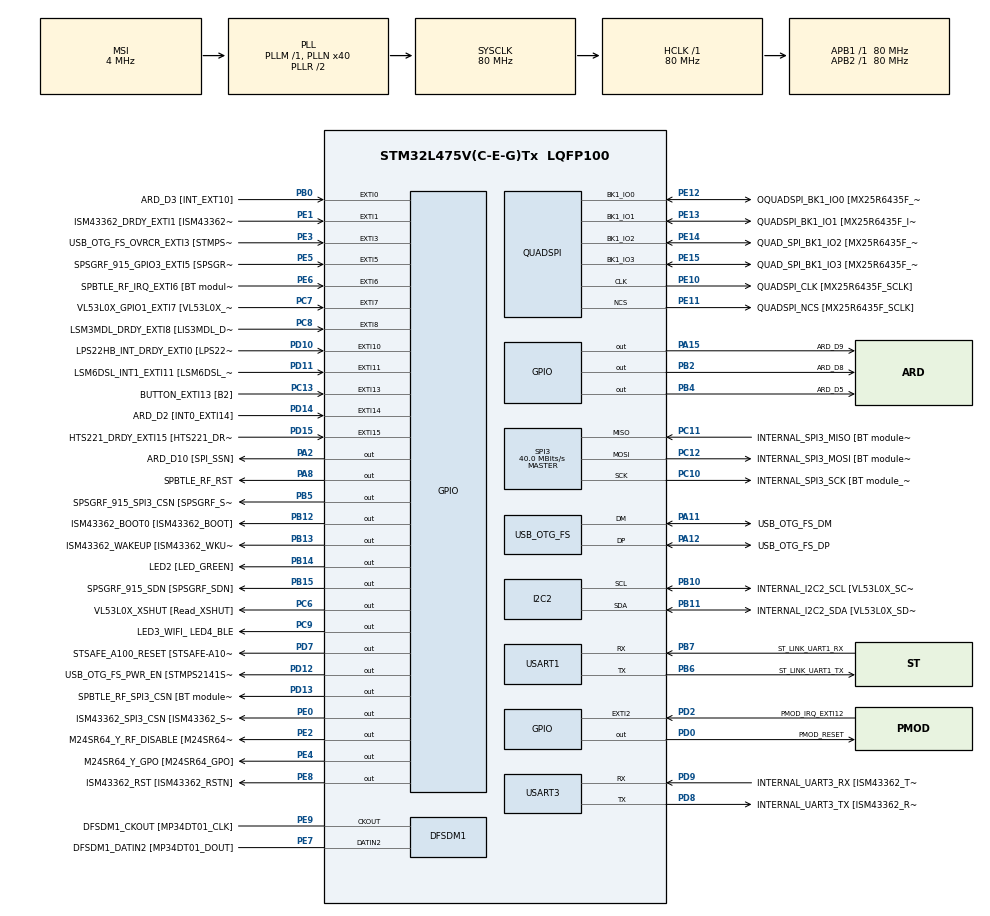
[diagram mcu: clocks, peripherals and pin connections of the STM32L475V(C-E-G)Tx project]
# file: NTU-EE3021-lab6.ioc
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ADC1.Channel-0\#ChannelRegularConversion=ADC_CHANNEL_TEMPSENSOR
ADC1.ClockPrescaler=ADC_CLOCK_ASYNC_DIV1
ADC1.ExternalTrigConv=ADC_EXTERNALTRIG_T2_TRGO
ADC1.NbrOfConversionFlag=1
ADC1.OffsetNumber-0\#ChannelRegularConversion=ADC_OFFSET_NONE
ADC1.Rank-0\#ChannelRegularConversion=1
ADC1.SamplingTime-0\#ChannelRegularConversion=ADC_SAMPLETIME_640CYCLES_5
ADC1.master=1
FREERTOS.BinarySemaphores01=myBinarySem01,Dynamic,NULL,Depleted
FREERTOS.Tasks01=defaultTask,24,128,StartDefaultTask,Default,NULL,Dynamic,NULL,NULL
Mcu.Family=STM32L4
Mcu.Name=STM32L475V(C-E-G)Tx
Mcu.Package=LQFP100
NVIC.ADC1_2_IRQn=true\:5\:0\:false\:false\:true\:true\:true\:true\:true
NVIC.EXTI15_10_IRQn=true\:5\:0\:false\:false\:true\:true\:true\:true\:true
NVIC.EXTI9_5_IRQn=true\:5\:0\:false\:false\:true\:true\:true\:true\:true
NVIC.PriorityGroup=NVIC_PRIORITYGROUP_4
PA0.GPIO_Label=ARD_D1 [UART4_TX]
PA0.Signal=UART4_TX
PA1.GPIO_Label=ARD_D0 [UART4_RX]
PA1.Signal=UART4_RX
PA10.GPIO_Label=USB_OTG_FS_ID
PA10.Signal=USB_OTG_FS_ID
PA11.GPIO_Label=USB_OTG_FS_DM
PA11.Mode=Device_Only
PA11.Signal=USB_OTG_FS_DM
PA12.GPIO_Label=USB_OTG_FS_DP
PA12.Mode=Device_Only
PA12.Signal=USB_OTG_FS_DP
PA13\ (JTMS-SWDIO).GPIO_Label=SYS_JTMS_SWDIO
PA13\ (JTMS-SWDIO).Mode=Serial_Wire
PA13\ (JTMS-SWDIO).Signal=SYS_JTMS-SWDIO
PA14\ (JTCK-SWCLK).GPIO_Label=SYS_JTCK_SWCLK
PA14\ (JTCK-SWCLK).Mode=Serial_Wire
PA14\ (JTCK-SWCLK).Signal=SYS_JTCK-SWCLK
PA15\ (JTDI).GPIO_Label=ARD_D9
PA15\ (JTDI).Signal=GPIO_Output
PA2.GPIO_Label=ARD_D10 [SPI_SSN]
PA2.Signal=GPIO_Output
PA3.GPIO_Label=ARD_D4
PA3.Signal=S_TIM2_CH4
PA4.GPIO_Label=ARD_D7
PA4.Signal=ADCx_IN9
PA5.GPIO_Label=ARD_D13 [SPI1_SCK]
PA5.Signal=SPI1_SCK
PA6.GPIO_Label=ARD_D12 [SPI1_MISO]
PA6.Signal=SPI1_MISO
PA7.GPIO_Label=ARD_D11 [SPI1_MOSI]
PA7.Signal=SPI1_MOSI
PA8.GPIO_Label=SPBTLE_RF_RST
PA8.Signal=GPIO_Output
PA9.GPIO_Label=USB_OTG_FS_VBUS [STMPS2141STR_OUT]
PA9.Signal=USB_OTG_FS_VBUS
PB0.GPIO_Label=ARD_D3 [INT_EXT10]
PB0.Signal=GPXTI0
PB1.GPIO_Label=ARD_D6 [ADC1_IN6]
PB1.Signal=ADCx_IN16
PB10.GPIO_Label=INTERNAL_I2C2_SCL [VL53L0X_SCL]
PB10.GPIO_Pu=GPIO_PULLUP
PB10.Mode=I2C
PB10.Signal=I2C2_SCL
PB11.GPIO_Label=INTERNAL_I2C2_SDA [VL53L0X_SDA]
PB11.GPIO_Pu=GPIO_PULLUP
PB11.Mode=I2C
PB11.Signal=I2C2_SDA
PB12.GPIO_Label=ISM43362_BOOT0 [ISM43362_BOOT]
PB12.Signal=GPIO_Output
PB13.GPIO_Label=ISM43362_WAKEUP [ISM43362_WKUP]
PB13.Signal=GPIO_Output
PB14.GPIO_Label=LED2 [LED_GREEN]
PB14.Signal=GPIO_Output
PB15.GPIO_Label=SPSGRF_915_SDN [SPSGRF_SDN]
PB15.Signal=GPIO_Output
PB2.GPIO_Label=ARD_D8
PB2.Signal=GPIO_Output
PB3\ (JTDO-TRACESWO).GPIO_Label=SYS_JTD0_SWO
PB3\ (JTDO-TRACESWO).Signal=SYS_JTDO-SWO
PB4\ (NJTRST).GPIO_Label=ARD_D5
PB4\ (NJTRST).Signal=GPIO_Output
PB5.GPIO_Label=SPSGRF_915_SPI3_CSN [SPSGRF_SPI_CS]
PB5.PinState=GPIO_PIN_SET
PB5.Signal=GPIO_Output
PB6.GPIO_Label=ST_LINK_UART1_TX
PB6.Mode=Asynchronous
PB6.Signal=USART1_TX
PB7.GPIO_Label=ST_LINK_UART1_RX
PB7.Mode=Asynchronous
PB7.Signal=USART1_RX
PB8.GPIO_Label=ARD_D15 [I2C1_SCL]
PB8.Signal=I2C1_SCL
PB9.GPIO_Label=ARD_D14 [I2C1_SDA]
PB9.Signal=I2C1_SDA
PC0.GPIO_Label=ARD_A5 [ADC]
PC0.Signal=ADCx_IN1
PC1.GPIO_Label=ARD_A4 [ADC]
PC1.Signal=ADCx_IN2
PC10.GPIO_Label=INTERNAL_SPI3_SCK [BT module_SPI_SCLK] [ISM43362_SCK]
PC10.Mode=Full_Duplex_Master
PC10.Signal=SPI3_SCK
PC11.GPIO_Label=INTERNAL_SPI3_MISO [BT module_SPI_MISO] [ISM43362_MISO]
PC11.Mode=Full_Duplex_Master
PC11.Signal=SPI3_MISO
PC12.GPIO_Label=INTERNAL_SPI3_MOSI [BT module_SPI_MOSI] [ISM43362_MOSI]
PC12.Mode=Full_Duplex_Master
PC12.Signal=SPI3_MOSI
PC13.GPIO_Label=BUTTON_EXTI13 [B2]
PC13.GPIO_ModeDefaultEXTI=GPIO_MODE_IT_FALLING
PC13.Signal=GPXTI13
PC14-OSC32_IN\ (PC14).Mode=LSE-External-Oscillator
PC14-OSC32_IN\ (PC14).Signal=RCC_OSC32_IN
PC15-OSC32_OUT\ (PC15).Mode=LSE-External-Oscillator
PC15-OSC32_OUT\ (PC15).Signal=RCC_OSC32_OUT
PC2.GPIO_Label=ARD_A3 [ADC]
PC2.Signal=ADCx_IN3
PC3.GPIO_Label=ARD_A2 [ADC]
PC3.Signal=ADCx_IN4
PC4.GPIO_Label=ARD_A1 [ADC]
PC4.Signal=ADCx_IN13
PC5.GPIO_Label=ARD_A0 [ADC]
PC5.Signal=ADCx_IN14
PC6.GPIO_Label=VL53L0X_XSHUT [Read_XSHUT]
PC6.Signal=GPIO_Output
PC7.GPIO_Label=VL53L0X_GPIO1_EXTI7 [VL53L0X_GPIO1]
PC7.Signal=GPXTI7
PC8.GPIO_Label=LSM3MDL_DRDY_EXTI8 [LIS3MDL_DRDY]
PC8.Signal=GPXTI8
PC9.GPIO_Label=LED3_WIFI_ LED4_BLE
PC9.Signal=GPIO_Output
PD0.GPIO_Label=PMOD_RESET
PD0.Signal=GPIO_Output
PD1.GPIO_Label=PMOD_SPI2_SCK
PD1.Signal=SPI2_SCK
PD10.GPIO_Label=LPS22HB_INT_DRDY_EXTI0 [LPS22HB_INT_DRDY] 
PD10.Signal=GPXTI10
PD11.GPIO_Label=LSM6DSL_INT1_EXTI11 [LSM6DSL_INT1]
PD11.Signal=GPXTI11
PD12.GPIO_Label=USB_OTG_FS_PWR_EN [STMPS2141STR_EN]
PD12.Signal=GPIO_Output
PD13.GPIO_Label=SPBTLE_RF_SPI3_CSN [BT module_SPI_CS]
PD13.PinState=GPIO_PIN_SET
PD13.Signal=GPIO_Output
PD14.GPIO_Label=ARD_D2 [INT0_EXTI14]
PD14.Signal=GPXTI14
PD15.GPIO_Label=HTS221_DRDY_EXTI15 [HTS221_DRDY]
PD15.Signal=GPXTI15
PD2.GPIO_Label=PMOD_IRQ_EXTI12
PD2.Signal=GPXTI2
PD3.GPIO_Label=PMOD_UART2_CTS
PD3.Signal=USART2_CTS
PD4.GPIO_Label=PMOD_UART2_RTS
PD4.Signal=USART2_RTS
PD5.GPIO_Label=PMOD_UART2_TX
PD5.Signal=USART2_TX
PD6.GPIO_Label=PMOD_UART2_RX
PD6.Signal=USART2_RX
PD7.GPIO_Label=STSAFE_A100_RESET [STSAFE-A100_RESET]
PD7.Signal=GPIO_Output
PD8.GPIO_Label=INTERNAL_UART3_TX [ISM43362_RX]
PD8.Mode=Asynchronous
PD8.Signal=USART3_TX
PD9.GPIO_Label=INTERNAL_UART3_RX [ISM43362_TX]
PD9.Mode=Asynchronous
PD9.Signal=USART3_RX
PE0.GPIO_Label=ISM43362_SPI3_CSN [ISM43362_SSN]
PE0.PinState=GPIO_PIN_SET
PE0.Signal=GPIO_Output
PE1.GPIO_Label=ISM43362_DRDY_EXTI1 [ISM43362_DATARDY]
PE1.Signal=GPXTI1
PE10.GPIO_Label=QUADSPI_CLK [MX25R6435F_SCLK]
PE10.Mode=Single Bank
PE10.Signal=QUADSPI_CLK
PE11.GPIO_Label=QUADSPI_NCS [MX25R6435F_SCLK]
PE11.Mode=Single Bank
PE11.Signal=QUADSPI_NCS
PE12.GPIO_Label=OQUADSPI_BK1_IO0 [MX25R6435F_IO0]
PE12.Mode=Single Bank
PE12.Signal=QUADSPI_BK1_IO0
PE13.GPIO_Label=QUADSPI_BK1_IO1 [MX25R6435F_IO1]
PE13.Mode=Single Bank
PE13.Signal=QUADSPI_BK1_IO1
PE14.GPIO_Label=QUAD_SPI_BK1_IO2 [MX25R6435F_IO2]
PE14.Mode=Single Bank
PE14.Signal=QUADSPI_BK1_IO2
PE15.GPIO_Label=QUAD_SPI_BK1_IO3 [MX25R6435F_IO3]
PE15.Mode=Single Bank
PE15.Signal=QUADSPI_BK1_IO3
PE2.GPIO_Label=M24SR64_Y_RF_DISABLE [M24SR64_RFDIS]
PE2.Signal=GPIO_Output
PE3.GPIO_Label=USB_OTG_FS_OVRCR_EXTI3 [STMPS2141STR_FAULT]
PE3.Signal=GPXTI3
PE4.GPIO_Label=M24SR64_Y_GPO [M24SR64_GPO]
PE4.Signal=GPIO_Output
PE5.GPIO_Label=SPSGRF_915_GPIO3_EXTI5 [SPSGRF_GPIO_3]
PE5.Signal=GPXTI5
PE6.GPIO_Label=SPBTLE_RF_IRQ_EXTI6 [BT module_SPI_IRQ]
PE6.Signal=GPXTI6
PE7.GPIO_Label=DFSDM1_DATIN2 [MP34DT01_DOUT]
PE7.Signal=S_DATAIN2DFSDM1
PE8.GPIO_Label=ISM43362_RST [ISM43362_RSTN]
PE8.Signal=GPIO_Output
PE9.GPIO_Label=DFSDM1_CKOUT [MP34DT01_CLK]
PE9.Signal=S_CKOUTDFSDM1
ProjectManager.HeapSize=0x200
ProjectManager.StackSize=0x400
ProjectManager.TargetToolchain=STM32CubeIDE
QUADSPI.ClockPrescaler=2
QUADSPI.FifoThreshold=4
QUADSPI.FlashSize=23
QUADSPI.SampleShifting=QSPI_SAMPLE_SHIFTING_HALFCYCLE
RCC.ADCFreq_Value=48000000
RCC.AHBFreq_Value=80000000
RCC.APB1Freq_Value=80000000
RCC.APB1TimFreq_Value=80000000
RCC.APB2Freq_Value=80000000
RCC.APB2TimFreq_Value=80000000
RCC.CortexFreq_Value=80000000
RCC.HCLKFreq_Value=80000000
RCC.HSE_VALUE=8000000
RCC.HSI_VALUE=16000000
RCC.MSI_VALUE=4000000
RCC.PLLN=40
RCC.PLLSAI1N=24
RCC.SYSCLKFreq_VALUE=80000000
RCC.SYSCLKSource=RCC_SYSCLKSOURCE_PLLCLK
RCC.USBFreq_Value=48000000
RCC.VCOOutputFreq_Value=160000000
SH.ADCx_IN1.0=ADC1_IN1
SH.ADCx_IN13.0=ADC1_IN13
SH.ADCx_IN14.0=ADC1_IN14
SH.ADCx_IN16.0=ADC1_IN16
SH.ADCx_IN2.0=ADC1_IN2
SH.ADCx_IN3.0=ADC1_IN3
SH.ADCx_IN4.0=ADC1_IN4
SH.ADCx_IN9.0=ADC1_IN9
SH.S_CKOUTDFSDM1.0=DFSDM1_CKOUT,CKOUT
SH.S_CKOUTDFSDM1.1=DFSDM1_CKOUT,PDM_SPI_Input_from_ch12_and_Internal_Clock
SH.S_DATAIN2DFSDM1.0=DFSDM1_DATIN2,PDM_SPI_Input_from_ch12_and_Internal_Clock
SH.S_TIM2_CH4.0=TIM2_CH4
SPI3.CalculateBaudRate=40.0 MBits/s
SPI3.Direction=SPI_DIRECTION_2LINES
SPI3.Mode=SPI_MODE_MASTER
SPI3.VirtualType=VM_MASTER
TIM2.Period=1000000-1
TIM2.Prescaler=80-1
TIM2.TIM_MasterOutputTrigger=TIM_TRGO_UPDATE
USART1.VirtualMode-Asynchronous=VM_ASYNC
USART3.VirtualMode-Asynchronous=VM_ASYNC
USB_OTG_FS.VirtualMode=Device_Only
VP_ADC1_TempSens_Input.Mode=IN-TempSens
VP_FREERTOS_VS_CMSIS_V2.Mode=CMSIS_V2
VP_TIM2_VS_ClockSourceINT.Mode=Internal
board=B-L475E-IOT01A1

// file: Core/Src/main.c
/* USER CODE BEGIN Header */
/**
 ******************************************************************************
 * @file           : main.c
 * @brief          : Main program body
 ******************************************************************************
 * @attention
 *
 * Copyright (c) 2025 STMicroelectronics.
 * All rights reserved.
 *
 * This software is licensed under terms that can be found in the LICENSE file
 * in the root directory of this software component.
 * If no LICENSE file comes with this software, it is provided AS-IS.
 *
 ******************************************************************************
 */
/* USER CODE END Header */
#include "main.h"
#include "cmsis_os.h"

/* USER CODE BEGIN PTD */

#define TS_CAL1_ADDR ((uint16_t *)((uint32_t)0x1FFF75A8)) // 30°C
#define TS_CAL2_ADDR ((uint16_t *)((uint32_t)0x1FFF75CA)) // 130°C
uint16_t ts_cal1, ts_cal2;

/* USER CODE END PTD */

ADC_HandleTypeDef hadc1;

DFSDM_Channel_HandleTypeDef hdfsdm1_channel1;

I2C_HandleTypeDef hi2c2;

QSPI_HandleTypeDef hqspi;

SPI_HandleTypeDef hspi3;

TIM_HandleTypeDef htim2;

UART_HandleTypeDef huart1;
UART_HandleTypeDef huart3;

PCD_HandleTypeDef hpcd_USB_OTG_FS;

float temperature;

/* Definitions for defaultTask */
osThreadId_t defaultTaskHandle;
const osThreadAttr_t defaultTask_attributes = {
    .name = "defaultTask",
    .stack_size = 512 * 4,
    .priority = (osPriority_t)osPriorityNormal,
};
/* Definitions for myBinarySem01 */
osSemaphoreId_t myBinarySem01Handle;
const osSemaphoreAttr_t myBinarySem01_attributes = {
    .name = "myBinarySem01"};

void SystemClock_Config(void);
void PeriphCommonClock_Config(void);
static void MX_GPIO_Init(void);
static void MX_DFSDM1_Init(void);
static void MX_I2C2_Init(void);
static void MX_QUADSPI_Init(void);
static void MX_SPI3_Init(void);
static void MX_USART1_UART_Init(void);
static void MX_USART3_UART_Init(void);
static void MX_USB_OTG_FS_PCD_Init(void);
static void MX_ADC1_Init(void);
static void MX_TIM2_Init(void);
void StartDefaultTask(void *argument);

/* USER CODE BEGIN 0 */

int __io_putchar(int ch) {
    HAL_UART_Transmit(&huart1, (uint8_t *)&ch, 1, HAL_MAX_DELAY);
    return ch;
}

void HAL_ADC_ConvCpltCallback(ADC_HandleTypeDef *hadc) {
    uint32_t value = HAL_ADC_GetValue(hadc);
    float adjusted_adc = ((float)value) * (3.3f / 3.0f); // 校準回 3.0V 基準
    temperature = (adjusted_adc - ts_cal1) * (130.0f - 30.0f) / (ts_cal2 - ts_cal1) + 30.0f;

    osSemaphoreRelease(myBinarySem01Handle);
}
/* USER CODE END 0 */

int main(void) {

    /* USER CODE BEGIN 1 */

    ts_cal1 = *TS_CAL1_ADDR;
    ts_cal2 = *TS_CAL2_ADDR;

    /* USER CODE END 1 */

    /* MCU Configuration--------------------------------------------------------*/

    /* Reset of all peripherals, Initializes the Flash interface and the Systick. */
    HAL_Init();

    /* Configure the system clock */
    SystemClock_Config();

    /* Configure the peripherals common clocks */
    PeriphCommonClock_Config();

    /* Initialize all configured peripherals */
    MX_GPIO_Init();
    MX_DFSDM1_Init();
    MX_I2C2_Init();
    MX_QUADSPI_Init();
    MX_SPI3_Init();
    MX_USART1_UART_Init();
    MX_USART3_UART_Init();
    MX_USB_OTG_FS_PCD_Init();
    MX_ADC1_Init();
    MX_TIM2_Init();
    /* USER CODE BEGIN 2 */

    HAL_ADC_Start_IT(&hadc1);
    HAL_TIM_Base_Start(&htim2);

    /* USER CODE END 2 */

    /* Init scheduler */
    osKernelInitialize();

    /* Create the semaphores(s) */
    /* creation of myBinarySem01 */
    myBinarySem01Handle = osSemaphoreNew(1, 0, &myBinarySem01_attributes);

    /* Create the thread(s) */
    /* creation of defaultTask */
    defaultTaskHandle = osThreadNew(StartDefaultTask, NULL, &defaultTask_attributes);

    /* Start scheduler */
    osKernelStart();

    /* We should never get here as control is now taken by the scheduler */

    /* Infinite loop */
    while (1) {

    }
}

void SystemClock_Config(void) {
    RCC_OscInitTypeDef RCC_OscInitStruct = {0};
    RCC_ClkInitTypeDef RCC_ClkInitStruct = {0};

    /** Configure the main internal regulator output voltage
     */
    if (HAL_PWREx_ControlVoltageScaling(PWR_REGULATOR_VOLTAGE_SCALE1) != HAL_OK) {
	Error_Handler();
    }

    /** Configure LSE Drive Capability
     */
    HAL_PWR_EnableBkUpAccess();
    __HAL_RCC_LSEDRIVE_CONFIG(RCC_LSEDRIVE_LOW);

    /** Initializes the RCC Oscillators according to the specified parameters
     * in the RCC_OscInitTypeDef structure.
     */
    RCC_OscInitStruct.OscillatorType = RCC_OSCILLATORTYPE_LSE | RCC_OSCILLATORTYPE_MSI;
    RCC_OscInitStruct.LSEState = RCC_LSE_ON;
    RCC_OscInitStruct.MSIState = RCC_MSI_ON;
    RCC_OscInitStruct.MSICalibrationValue = 0;
    RCC_OscInitStruct.MSIClockRange = RCC_MSIRANGE_6;
    RCC_OscInitStruct.PLL.PLLState = RCC_PLL_ON;
    RCC_OscInitStruct.PLL.PLLSource = RCC_PLLSOURCE_MSI;
    RCC_OscInitStruct.PLL.PLLM = 1;
    RCC_OscInitStruct.PLL.PLLN = 40;
    RCC_OscInitStruct.PLL.PLLP = RCC_PLLP_DIV7;
    RCC_OscInitStruct.PLL.PLLQ = RCC_PLLQ_DIV2;
    RCC_OscInitStruct.PLL.PLLR = RCC_PLLR_DIV2;
    if (HAL_RCC_OscConfig(&RCC_OscInitStruct) != HAL_OK) {
	Error_Handler();
    }

    /** Initializes the CPU, AHB and APB buses clocks
     */
    RCC_ClkInitStruct.ClockType = RCC_CLOCKTYPE_HCLK | RCC_CLOCKTYPE_SYSCLK | RCC_CLOCKTYPE_PCLK1 | RCC_CLOCKTYPE_PCLK2;
    RCC_ClkInitStruct.SYSCLKSource = RCC_SYSCLKSOURCE_PLLCLK;
    RCC_ClkInitStruct.AHBCLKDivider = RCC_SYSCLK_DIV1;
    RCC_ClkInitStruct.APB1CLKDivider = RCC_HCLK_DIV1;
    RCC_ClkInitStruct.APB2CLKDivider = RCC_HCLK_DIV1;

    if (HAL_RCC_ClockConfig(&RCC_ClkInitStruct, FLASH_LATENCY_4) != HAL_OK) {
	Error_Handler();
    }

    /** Enable MSI Auto calibration
     */
    HAL_RCCEx_EnableMSIPLLMode();
}

void PeriphCommonClock_Config(void) {
    RCC_PeriphCLKInitTypeDef PeriphClkInit = {0};

    /** Initializes the peripherals clock
     */
    PeriphClkInit.PeriphClockSelection = RCC_PERIPHCLK_USB | RCC_PERIPHCLK_ADC;
    PeriphClkInit.AdcClockSelection = RCC_ADCCLKSOURCE_PLLSAI1;
    PeriphClkInit.UsbClockSelection = RCC_USBCLKSOURCE_PLLSAI1;
    PeriphClkInit.PLLSAI1.PLLSAI1Source = RCC_PLLSOURCE_MSI;
    PeriphClkInit.PLLSAI1.PLLSAI1M = 1;
    PeriphClkInit.PLLSAI1.PLLSAI1N = 24;
    PeriphClkInit.PLLSAI1.PLLSAI1P = RCC_PLLP_DIV7;
    PeriphClkInit.PLLSAI1.PLLSAI1Q = RCC_PLLQ_DIV2;
    PeriphClkInit.PLLSAI1.PLLSAI1R = RCC_PLLR_DIV2;
    PeriphClkInit.PLLSAI1.PLLSAI1ClockOut = RCC_PLLSAI1_48M2CLK | RCC_PLLSAI1_ADC1CLK;
    if (HAL_RCCEx_PeriphCLKConfig(&PeriphClkInit) != HAL_OK) {
	Error_Handler();
    }
}

static void MX_ADC1_Init(void) {

    ADC_MultiModeTypeDef multimode = {0};
    ADC_ChannelConfTypeDef sConfig = {0};

    /** Common config
     */
    hadc1.Instance = ADC1;
    hadc1.Init.ClockPrescaler = ADC_CLOCK_ASYNC_DIV1;
    hadc1.Init.Resolution = ADC_RESOLUTION_12B;
    hadc1.Init.DataAlign = ADC_DATAALIGN_RIGHT;
    hadc1.Init.ScanConvMode = ADC_SCAN_DISABLE;
    hadc1.Init.EOCSelection = ADC_EOC_SINGLE_CONV;
    hadc1.Init.LowPowerAutoWait = DISABLE;
    hadc1.Init.ContinuousConvMode = DISABLE;
    hadc1.Init.NbrOfConversion = 1;
    hadc1.Init.DiscontinuousConvMode = DISABLE;
    hadc1.Init.ExternalTrigConv = ADC_EXTERNALTRIG_T2_TRGO;
    hadc1.Init.ExternalTrigConvEdge = ADC_EXTERNALTRIGCONVEDGE_RISING;
    hadc1.Init.DMAContinuousRequests = DISABLE;
    hadc1.Init.Overrun = ADC_OVR_DATA_PRESERVED;
    hadc1.Init.OversamplingMode = DISABLE;
    if (HAL_ADC_Init(&hadc1) != HAL_OK) {
	Error_Handler();
    }

    /** Configure the ADC multi-mode
     */
    multimode.Mode = ADC_MODE_INDEPENDENT;
    if (HAL_ADCEx_MultiModeConfigChannel(&hadc1, &multimode) != HAL_OK) {
	Error_Handler();
    }

    /** Configure Regular Channel
     */
    sConfig.Channel = ADC_CHANNEL_TEMPSENSOR;
    sConfig.Rank = ADC_REGULAR_RANK_1;
    sConfig.SamplingTime = ADC_SAMPLETIME_640CYCLES_5;
    sConfig.SingleDiff = ADC_SINGLE_ENDED;
    sConfig.OffsetNumber = ADC_OFFSET_NONE;
    sConfig.Offset = 0;
    if (HAL_ADC_ConfigChannel(&hadc1, &sConfig) != HAL_OK) {
	Error_Handler();
    }
}

static void MX_DFSDM1_Init(void) {

    hdfsdm1_channel1.Instance = DFSDM1_Channel1;
    hdfsdm1_channel1.Init.OutputClock.Activation = ENABLE;
    hdfsdm1_channel1.Init.OutputClock.Selection = DFSDM_CHANNEL_OUTPUT_CLOCK_SYSTEM;
    hdfsdm1_channel1.Init.OutputClock.Divider = 2;
    hdfsdm1_channel1.Init.Input.Multiplexer = DFSDM_CHANNEL_EXTERNAL_INPUTS;
    hdfsdm1_channel1.Init.Input.DataPacking = DFSDM_CHANNEL_STANDARD_MODE;
    hdfsdm1_channel1.Init.Input.Pins = DFSDM_CHANNEL_FOLLOWING_CHANNEL_PINS;
    hdfsdm1_channel1.Init.SerialInterface.Type = DFSDM_CHANNEL_SPI_RISING;
    hdfsdm1_channel1.Init.SerialInterface.SpiClock = DFSDM_CHANNEL_SPI_CLOCK_INTERNAL;
    hdfsdm1_channel1.Init.Awd.FilterOrder = DFSDM_CHANNEL_FASTSINC_ORDER;
    hdfsdm1_channel1.Init.Awd.Oversampling = 1;
    hdfsdm1_channel1.Init.Offset = 0;
    hdfsdm1_channel1.Init.RightBitShift = 0x00;
    if (HAL_DFSDM_ChannelInit(&hdfsdm1_channel1) != HAL_OK) {
	Error_Handler();
    }
}

static void MX_I2C2_Init(void) {

    hi2c2.Instance = I2C2;
    hi2c2.Init.Timing = 0x00000E14;
    hi2c2.Init.OwnAddress1 = 0;
    hi2c2.Init.AddressingMode = I2C_ADDRESSINGMODE_7BIT;
    hi2c2.Init.DualAddressMode = I2C_DUALADDRESS_DISABLE;
    hi2c2.Init.OwnAddress2 = 0;
    hi2c2.Init.OwnAddress2Masks = I2C_OA2_NOMASK;
    hi2c2.Init.GeneralCallMode = I2C_GENERALCALL_DISABLE;
    hi2c2.Init.NoStretchMode = I2C_NOSTRETCH_DISABLE;
    if (HAL_I2C_Init(&hi2c2) != HAL_OK) {
	Error_Handler();
    }

    /** Configure Analogue filter
     */
    if (HAL_I2CEx_ConfigAnalogFilter(&hi2c2, I2C_ANALOGFILTER_ENABLE) != HAL_OK) {
	Error_Handler();
    }

    /** Configure Digital filter
     */
    if (HAL_I2CEx_ConfigDigitalFilter(&hi2c2, 0) != HAL_OK) {
	Error_Handler();
    }
}

static void MX_QUADSPI_Init(void) {

    /* QUADSPI parameter configuration*/
    hqspi.Instance = QUADSPI;
    hqspi.Init.ClockPrescaler = 2;
    hqspi.Init.FifoThreshold = 4;
    hqspi.Init.SampleShifting = QSPI_SAMPLE_SHIFTING_HALFCYCLE;
    hqspi.Init.FlashSize = 23;
    hqspi.Init.ChipSelectHighTime = QSPI_CS_HIGH_TIME_1_CYCLE;
    hqspi.Init.ClockMode = QSPI_CLOCK_MODE_0;
    if (HAL_QSPI_Init(&hqspi) != HAL_OK) {
	Error_Handler();
    }
}

static void MX_SPI3_Init(void) {

    /* SPI3 parameter configuration*/
    hspi3.Instance = SPI3;
    hspi3.Init.Mode = SPI_MODE_MASTER;
    hspi3.Init.Direction = SPI_DIRECTION_2LINES;
    hspi3.Init.DataSize = SPI_DATASIZE_4BIT;
    hspi3.Init.CLKPolarity = SPI_POLARITY_LOW;
    hspi3.Init.CLKPhase = SPI_PHASE_1EDGE;
    hspi3.Init.NSS = SPI_NSS_SOFT;
    hspi3.Init.BaudRatePrescaler = SPI_BAUDRATEPRESCALER_2;
    hspi3.Init.FirstBit = SPI_FIRSTBIT_MSB;
    hspi3.Init.TIMode = SPI_TIMODE_DISABLE;
    hspi3.Init.CRCCalculation = SPI_CRCCALCULATION_DISABLE;
    hspi3.Init.CRCPolynomial = 7;
    hspi3.Init.CRCLength = SPI_CRC_LENGTH_DATASIZE;
    hspi3.Init.NSSPMode = SPI_NSS_PULSE_ENABLE;
    if (HAL_SPI_Init(&hspi3) != HAL_OK) {
	Error_Handler();
    }
}

static void MX_TIM2_Init(void) {

    TIM_ClockConfigTypeDef sClockSourceConfig = {0};
    TIM_MasterConfigTypeDef sMasterConfig = {0};

    htim2.Instance = TIM2;
    htim2.Init.Prescaler = 80 - 1;
    htim2.Init.CounterMode = TIM_COUNTERMODE_UP;
    htim2.Init.Period = 1000000 - 1;
    htim2.Init.ClockDivision = TIM_CLOCKDIVISION_DIV1;
    htim2.Init.AutoReloadPreload = TIM_AUTORELOAD_PRELOAD_DISABLE;
    if (HAL_TIM_Base_Init(&htim2) != HAL_OK) {
	Error_Handler();
    }
    sClockSourceConfig.ClockSource = TIM_CLOCKSOURCE_INTERNAL;
    if (HAL_TIM_ConfigClockSource(&htim2, &sClockSourceConfig) != HAL_OK) {
	Error_Handler();
    }
    sMasterConfig.MasterOutputTrigger = TIM_TRGO_UPDATE;
    sMasterConfig.MasterSlaveMode = TIM_MASTERSLAVEMODE_DISABLE;
    if (HAL_TIMEx_MasterConfigSynchronization(&htim2, &sMasterConfig) != HAL_OK) {
	Error_Handler();
    }
}

static void MX_USART1_UART_Init(void) {

    huart1.Instance = USART1;
    huart1.Init.BaudRate = 115200;
    huart1.Init.WordLength = UART_WORDLENGTH_8B;
    huart1.Init.StopBits = UART_STOPBITS_1;
    huart1.Init.Parity = UART_PARITY_NONE;
    huart1.Init.Mode = UART_MODE_TX_RX;
    huart1.Init.HwFlowCtl = UART_HWCONTROL_NONE;
    huart1.Init.OverSampling = UART_OVERSAMPLING_16;
    huart1.Init.OneBitSampling = UART_ONE_BIT_SAMPLE_DISABLE;
    huart1.AdvancedInit.AdvFeatureInit = UART_ADVFEATURE_NO_INIT;
    if (HAL_UART_Init(&huart1) != HAL_OK) {
	Error_Handler();
    }
}

static void MX_USART3_UART_Init(void) {

    huart3.Instance = USART3;
    huart3.Init.BaudRate = 115200;
    huart3.Init.WordLength = UART_WORDLENGTH_8B;
    huart3.Init.StopBits = UART_STOPBITS_1;
    huart3.Init.Parity = UART_PARITY_NONE;
    huart3.Init.Mode = UART_MODE_TX_RX;
    huart3.Init.HwFlowCtl = UART_HWCONTROL_NONE;
    huart3.Init.OverSampling = UART_OVERSAMPLING_16;
    huart3.Init.OneBitSampling = UART_ONE_BIT_SAMPLE_DISABLE;
    huart3.AdvancedInit.AdvFeatureInit = UART_ADVFEATURE_NO_INIT;
    if (HAL_UART_Init(&huart3) != HAL_OK) {
	Error_Handler();
    }
}

static void MX_USB_OTG_FS_PCD_Init(void) {

    hpcd_USB_OTG_FS.Instance = USB_OTG_FS;
    hpcd_USB_OTG_FS.Init.dev_endpoints = 6;
    hpcd_USB_OTG_FS.Init.speed = PCD_SPEED_FULL;
    hpcd_USB_OTG_FS.Init.phy_itface = PCD_PHY_EMBEDDED;
    hpcd_USB_OTG_FS.Init.Sof_enable = DISABLE;
    hpcd_USB_OTG_FS.Init.low_power_enable = DISABLE;
    hpcd_USB_OTG_FS.Init.lpm_enable = DISABLE;
    hpcd_USB_OTG_FS.Init.battery_charging_enable = DISABLE;
    hpcd_USB_OTG_FS.Init.use_dedicated_ep1 = DISABLE;
    hpcd_USB_OTG_FS.Init.vbus_sensing_enable = DISABLE;
    if (HAL_PCD_Init(&hpcd_USB_OTG_FS) != HAL_OK) {
	Error_Handler();
    }
}

static void MX_GPIO_Init(void) {
    GPIO_InitTypeDef GPIO_InitStruct = {0};

    /* GPIO Ports Clock Enable */
    __HAL_RCC_GPIOE_CLK_ENABLE();
    __HAL_RCC_GPIOC_CLK_ENABLE();
    __HAL_RCC_GPIOA_CLK_ENABLE();
    __HAL_RCC_GPIOB_CLK_ENABLE();
    __HAL_RCC_GPIOD_CLK_ENABLE();

    /*Configure GPIO pin Output Level */
    HAL_GPIO_WritePin(GPIOE, M24SR64_Y_RF_DISABLE_Pin | M24SR64_Y_GPO_Pin | ISM43362_RST_Pin, GPIO_PIN_RESET);

    /*Configure GPIO pin Output Level */
    HAL_GPIO_WritePin(GPIOA, ARD_D10_Pin | SPBTLE_RF_RST_Pin | ARD_D9_Pin, GPIO_PIN_RESET);

    /*Configure GPIO pin Output Level */
    HAL_GPIO_WritePin(GPIOB, ARD_D8_Pin | ISM43362_BOOT0_Pin | ISM43362_WAKEUP_Pin | LED2_Pin | SPSGRF_915_SDN_Pin | ARD_D5_Pin, GPIO_PIN_RESET);

    /*Configure GPIO pin Output Level */
    HAL_GPIO_WritePin(GPIOD, USB_OTG_FS_PWR_EN_Pin | PMOD_RESET_Pin | STSAFE_A100_RESET_Pin, GPIO_PIN_RESET);

    /*Configure GPIO pin Output Level */
    HAL_GPIO_WritePin(SPBTLE_RF_SPI3_CSN_GPIO_Port, SPBTLE_RF_SPI3_CSN_Pin, GPIO_PIN_SET);

    /*Configure GPIO pin Output Level */
    HAL_GPIO_WritePin(GPIOC, VL53L0X_XSHUT_Pin | LED3_WIFI__LED4_BLE_Pin, GPIO_PIN_RESET);

    /*Configure GPIO pin Output Level */
    HAL_GPIO_WritePin(SPSGRF_915_SPI3_CSN_GPIO_Port, SPSGRF_915_SPI3_CSN_Pin, GPIO_PIN_SET);

    /*Configure GPIO pin Output Level */
    HAL_GPIO_WritePin(ISM43362_SPI3_CSN_GPIO_Port, ISM43362_SPI3_CSN_Pin, GPIO_PIN_SET);

    /*Configure GPIO pins : M24SR64_Y_RF_DISABLE_Pin M24SR64_Y_GPO_Pin ISM43362_RST_Pin ISM43362_SPI3_CSN_Pin */
    GPIO_InitStruct.Pin = M24SR64_Y_RF_DISABLE_Pin | M24SR64_Y_GPO_Pin | ISM43362_RST_Pin | ISM43362_SPI3_CSN_Pin;
    GPIO_InitStruct.Mode = GPIO_MODE_OUTPUT_PP;
    GPIO_InitStruct.Pull = GPIO_NOPULL;
    GPIO_InitStruct.Speed = GPIO_SPEED_FREQ_LOW;
    HAL_GPIO_Init(GPIOE, &GPIO_InitStruct);

    /*Configure GPIO pins : USB_OTG_FS_OVRCR_EXTI3_Pin SPSGRF_915_GPIO3_EXTI5_Pin SPBTLE_RF_IRQ_EXTI6_Pin ISM43362_DRDY_EXTI1_Pin */
    GPIO_InitStruct.Pin = USB_OTG_FS_OVRCR_EXTI3_Pin | SPSGRF_915_GPIO3_EXTI5_Pin | SPBTLE_RF_IRQ_EXTI6_Pin | ISM43362_DRDY_EXTI1_Pin;
    GPIO_InitStruct.Mode = GPIO_MODE_IT_RISING;
    GPIO_InitStruct.Pull = GPIO_NOPULL;
    HAL_GPIO_Init(GPIOE, &GPIO_InitStruct);

    /*Configure GPIO pin : BUTTON_EXTI13_Pin */
    GPIO_InitStruct.Pin = BUTTON_EXTI13_Pin;
    GPIO_InitStruct.Mode = GPIO_MODE_IT_FALLING;
    GPIO_InitStruct.Pull = GPIO_NOPULL;
    HAL_GPIO_Init(BUTTON_EXTI13_GPIO_Port, &GPIO_InitStruct);

    /*Configure GPIO pins : ARD_D1_Pin ARD_D0_Pin */
    GPIO_InitStruct.Pin = ARD_D1_Pin | ARD_D0_Pin;
    GPIO_InitStruct.Mode = GPIO_MODE_AF_PP;
    GPIO_InitStruct.Pull = GPIO_NOPULL;
    GPIO_InitStruct.Speed = GPIO_SPEED_FREQ_VERY_HIGH;
    GPIO_InitStruct.Alternate = GPIO_AF8_UART4;
    HAL_GPIO_Init(GPIOA, &GPIO_InitStruct);

    /*Configure GPIO pins : ARD_D10_Pin SPBTLE_RF_RST_Pin ARD_D9_Pin */
    GPIO_InitStruct.Pin = ARD_D10_Pin | SPBTLE_RF_RST_Pin | ARD_D9_Pin;
    GPIO_InitStruct.Mode = GPIO_MODE_OUTPUT_PP;
    GPIO_InitStruct.Pull = GPIO_NOPULL;
    GPIO_InitStruct.Speed = GPIO_SPEED_FREQ_LOW;
    HAL_GPIO_Init(GPIOA, &GPIO_InitStruct);

    /*Configure GPIO pins : ARD_D13_Pin ARD_D12_Pin ARD_D11_Pin */
    GPIO_InitStruct.Pin = ARD_D13_Pin | ARD_D12_Pin | ARD_D11_Pin;
    GPIO_InitStruct.Mode = GPIO_MODE_AF_PP;
    GPIO_InitStruct.Pull = GPIO_NOPULL;
    GPIO_InitStruct.Speed = GPIO_SPEED_FREQ_VERY_HIGH;
    GPIO_InitStruct.Alternate = GPIO_AF5_SPI1;
    HAL_GPIO_Init(GPIOA, &GPIO_InitStruct);

    /*Configure GPIO pin : ARD_D3_Pin */
    GPIO_InitStruct.Pin = ARD_D3_Pin;
    GPIO_InitStruct.Mode = GPIO_MODE_IT_RISING;
    GPIO_InitStruct.Pull = GPIO_NOPULL;
    HAL_GPIO_Init(ARD_D3_GPIO_Port, &GPIO_InitStruct);

    /*Configure GPIO pins : ARD_D8_Pin ISM43362_BOOT0_Pin ISM43362_WAKEUP_Pin LED2_Pin
			     SPSGRF_915_SDN_Pin ARD_D5_Pin SPSGRF_915_SPI3_CSN_Pin */
    GPIO_InitStruct.Pin = ARD_D8_Pin | ISM43362_BOOT0_Pin | ISM43362_WAKEUP_Pin | LED2_Pin | SPSGRF_915_SDN_Pin | ARD_D5_Pin | SPSGRF_915_SPI3_CSN_Pin;
    GPIO_InitStruct.Mode = GPIO_MODE_OUTPUT_PP;
    GPIO_InitStruct.Pull = GPIO_NOPULL;
    GPIO_InitStruct.Speed = GPIO_SPEED_FREQ_LOW;
    HAL_GPIO_Init(GPIOB, &GPIO_InitStruct);

    /*Configure GPIO pins : LPS22HB_INT_DRDY_EXTI0_Pin LSM6DSL_INT1_EXTI11_Pin ARD_D2_Pin HTS221_DRDY_EXTI15_Pin
			     PMOD_IRQ_EXTI12_Pin */
    GPIO_InitStruct.Pin = LPS22HB_INT_DRDY_EXTI0_Pin | LSM6DSL_INT1_EXTI11_Pin | ARD_D2_Pin | HTS221_DRDY_EXTI15_Pin | PMOD_IRQ_EXTI12_Pin;
    GPIO_InitStruct.Mode = GPIO_MODE_IT_RISING;
    GPIO_InitStruct.Pull = GPIO_NOPULL;
    HAL_GPIO_Init(GPIOD, &GPIO_InitStruct);

    /*Configure GPIO pins : USB_OTG_FS_PWR_EN_Pin SPBTLE_RF_SPI3_CSN_Pin PMOD_RESET_Pin STSAFE_A100_RESET_Pin */
    GPIO_InitStruct.Pin = USB_OTG_FS_PWR_EN_Pin | SPBTLE_RF_SPI3_CSN_Pin | PMOD_RESET_Pin | STSAFE_A100_RESET_Pin;
    GPIO_InitStruct.Mode = GPIO_MODE_OUTPUT_PP;
    GPIO_InitStruct.Pull = GPIO_NOPULL;
    GPIO_InitStruct.Speed = GPIO_SPEED_FREQ_LOW;
    HAL_GPIO_Init(GPIOD, &GPIO_InitStruct);

    /*Configure GPIO pins : VL53L0X_XSHUT_Pin LED3_WIFI__LED4_BLE_Pin */
    GPIO_InitStruct.Pin = VL53L0X_XSHUT_Pin | LED3_WIFI__LED4_BLE_Pin;
    GPIO_InitStruct.Mode = GPIO_MODE_OUTPUT_PP;
    GPIO_InitStruct.Pull = GPIO_NOPULL;
    GPIO_InitStruct.Speed = GPIO_SPEED_FREQ_LOW;
    HAL_GPIO_Init(GPIOC, &GPIO_InitStruct);

    /*Configure GPIO pins : VL53L0X_GPIO1_EXTI7_Pin LSM3MDL_DRDY_EXTI8_Pin */
    GPIO_InitStruct.Pin = VL53L0X_GPIO1_EXTI7_Pin | LSM3MDL_DRDY_EXTI8_Pin;
    GPIO_InitStruct.Mode = GPIO_MODE_IT_RISING;
    GPIO_InitStruct.Pull = GPIO_NOPULL;
    HAL_GPIO_Init(GPIOC, &GPIO_InitStruct);

    /*Configure GPIO pin : PMOD_SPI2_SCK_Pin */
    GPIO_InitStruct.Pin = PMOD_SPI2_SCK_Pin;
    GPIO_InitStruct.Mode = GPIO_MODE_AF_PP;
    GPIO_InitStruct.Pull = GPIO_NOPULL;
    GPIO_InitStruct.Speed = GPIO_SPEED_FREQ_VERY_HIGH;
    GPIO_InitStruct.Alternate = GPIO_AF5_SPI2;
    HAL_GPIO_Init(PMOD_SPI2_SCK_GPIO_Port, &GPIO_InitStruct);

    /*Configure GPIO pins : PMOD_UART2_CTS_Pin PMOD_UART2_RTS_Pin PMOD_UART2_TX_Pin PMOD_UART2_RX_Pin */
    GPIO_InitStruct.Pin = PMOD_UART2_CTS_Pin | PMOD_UART2_RTS_Pin | PMOD_UART2_TX_Pin | PMOD_UART2_RX_Pin;
    GPIO_InitStruct.Mode = GPIO_MODE_AF_PP;
    GPIO_InitStruct.Pull = GPIO_NOPULL;
    GPIO_InitStruct.Speed = GPIO_SPEED_FREQ_VERY_HIGH;
    GPIO_InitStruct.Alternate = GPIO_AF7_USART2;
    HAL_GPIO_Init(GPIOD, &GPIO_InitStruct);

    /*Configure GPIO pins : ARD_D15_Pin ARD_D14_Pin */
    GPIO_InitStruct.Pin = ARD_D15_Pin | ARD_D14_Pin;
    GPIO_InitStruct.Mode = GPIO_MODE_AF_OD;
    GPIO_InitStruct.Pull = GPIO_NOPULL;
    GPIO_InitStruct.Speed = GPIO_SPEED_FREQ_VERY_HIGH;
    GPIO_InitStruct.Alternate = GPIO_AF4_I2C1;
    HAL_GPIO_Init(GPIOB, &GPIO_InitStruct);

    /* EXTI interrupt init*/
    HAL_NVIC_SetPriority(EXTI9_5_IRQn, 5, 0);
    HAL_NVIC_EnableIRQ(EXTI9_5_IRQn);

    HAL_NVIC_SetPriority(EXTI15_10_IRQn, 5, 0);
    HAL_NVIC_EnableIRQ(EXTI15_10_IRQn);

}

void StartDefaultTask(void *argument) {
    /* USER CODE BEGIN 5 */
    /* Infinite loop */
    for (;;) {
	osSemaphoreAcquire(myBinarySem01Handle, osWaitForever);
	printf("Temperature: %.2f °C\n\n", temperature);
	osDelay(1);
    }
    /* USER CODE END 5 */
}

void Error_Handler(void) {
    __disable_irq();
    while (1) {
    }
}
